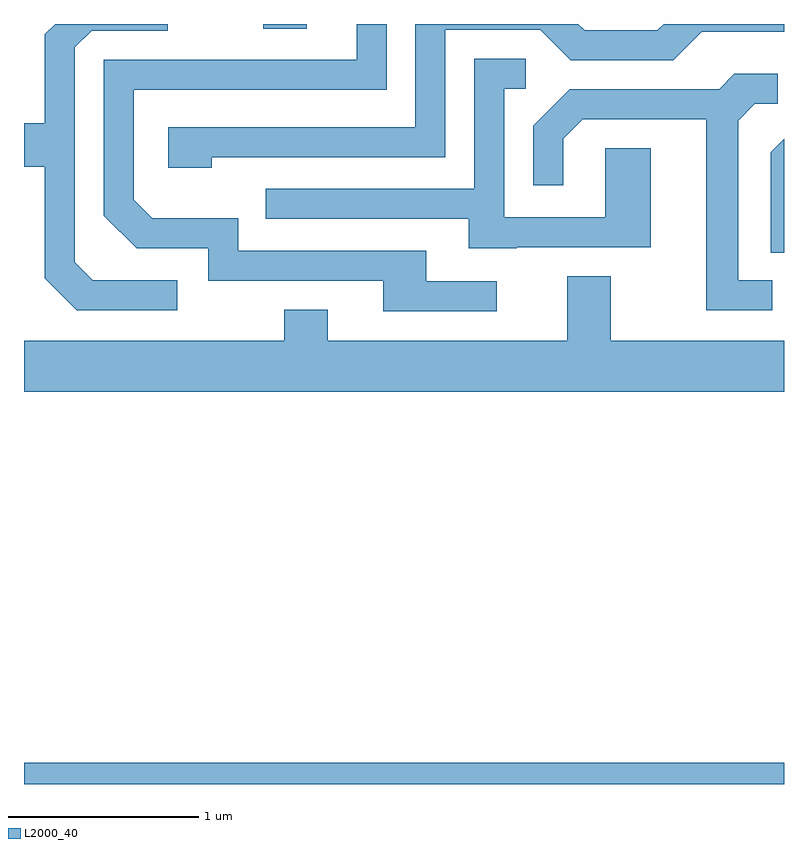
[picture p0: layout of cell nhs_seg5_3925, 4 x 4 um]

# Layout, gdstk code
import gdstk
lib = gdstk.Library(unit=1e-6, precision=1e-09)
def R(c, l, rs):  # rectangles x0, y0, x1, y1
    for r in rs: c.add(gdstk.rectangle(r[:2], r[2:], *l))
def P(c, l, *ps):  # polygons
    for p in ps: c.add(gdstk.Polygon(p, *l))
L2000_40 = (2000, 40)

nhs_seg5_3925 = lib.new_cell('nhs_seg5_3925')
R(nhs_seg5_3925, L2000_40, [(301.611,1448.072,305.611,1448.184), (302.871,1452.046,303.099,1452.072)])
P(nhs_seg5_3925, L2000_40, [(302.418,1450.724),(301.972,1450.724),(301.879,1450.817),(301.879,1451.949),(301.967,1452.036),(302.368,1452.036),(302.368,1452.072),(301.776,1452.072),(301.721,1452.017),(301.721,1451.549),(301.611,1451.549),(301.611,1451.321),(301.721,1451.321),(301.721,1450.734),(301.889,1450.566),(302.418,1450.566)],
  [(302.599,1451.371),(303.829,1451.371),(303.829,1452.041),(304.329,1452.041),(304.489,1451.881),(305.027,1451.881),(305.177,1452.031),(305.611,1452.031),(305.611,1452.072),(304.977,1452.072),(304.944,1452.039),(304.562,1452.039),(304.529,1452.072),(303.671,1452.072),(303.671,1451.529),(302.371,1451.529),(302.371,1451.316),(302.599,1451.316)],
  [(304.098,1450.719),(303.729,1450.719),(303.729,1450.879),(302.739,1450.879),(302.739,1451.049),(302.287,1451.049),(302.189,1451.147),(302.189,1451.726),(303.519,1451.726),(303.519,1452.072),(303.361,1452.072),(303.361,1451.884),(302.031,1451.884),(302.031,1451.064),(302.204,1450.891),(302.581,1450.891),(302.581,1450.721),(303.501,1450.721),(303.501,1450.561),(304.098,1450.561)],
  [(304.205,1450.896),(304.909,1450.896),(304.909,1451.419),(304.671,1451.419),(304.671,1451.054),(304.139,1451.054),(304.139,1451.731),(304.253,1451.731),(304.253,1451.889),(303.981,1451.889),(303.981,1451.204),(302.883,1451.204),(302.883,1451.046),(303.951,1451.046),(303.951,1450.891),(304.205,1450.891)],
  [(305.548,1450.724),(305.369,1450.724),(305.369,1451.564),(305.457,1451.651),(305.578,1451.651),(305.578,1451.809),(305.349,1451.809),(305.269,1451.729),(304.484,1451.729),(304.291,1451.537),(304.291,1451.223),(304.449,1451.223),(304.449,1451.469),(304.552,1451.571),(305.201,1451.571),(305.201,1450.566),(305.548,1450.566)],
  [(305.611,1451.467),(305.541,1451.397),(305.541,1450.868),(305.611,1450.868)],
  [(305.611,1450.404),(304.699,1450.404),(304.699,1450.744),(304.471,1450.744),(304.471,1450.404),(303.209,1450.404),(303.209,1450.569),(302.981,1450.569),(302.981,1450.404),(301.611,1450.404),(301.611,1450.136),(305.611,1450.136)])

lib.write_gds('nhs_seg5_3925.gds')
